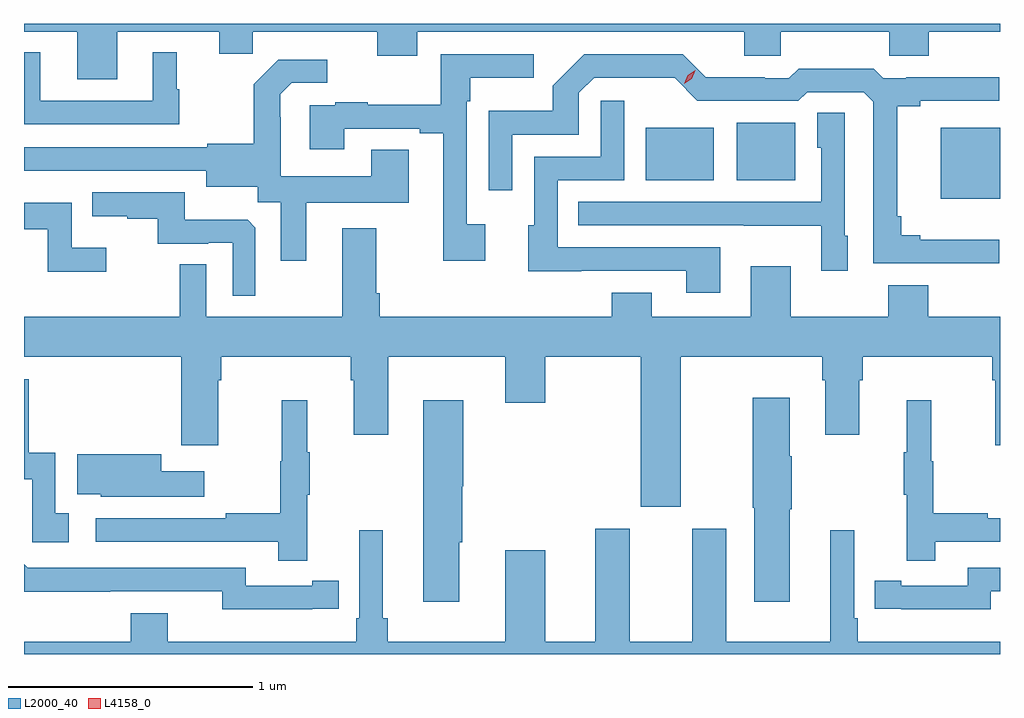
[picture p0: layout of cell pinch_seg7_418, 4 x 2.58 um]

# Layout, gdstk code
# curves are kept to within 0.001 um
import gdstk
lib = gdstk.Library(unit=1e-6, precision=1e-09)
def R(c, l, rs):  # rectangles x0, y0, x1, y1
    for r in rs: c.add(gdstk.rectangle(r[:2], r[2:], *l))
def P(c, l, *ps):  # polygons
    for p in ps: c.add(gdstk.Polygon(p, *l))
L2000_40 = (2000, 40)
L4158_0 = (4158, 0)

pinch_seg7_418 = lib.new_cell('pinch_seg7_418')
R(pinch_seg7_418, L2000_40, [(310.649,1081.184,310.891,1081.474), (309.44,1081.259,309.718,1081.474), (309.812,1081.259,310.051,1081.495)])
P(pinch_seg7_418, L2000_40, [(307.273,1081.868),(307.691,1081.868),(307.691,1081.778),(307.829,1081.778),(307.829,1081.868),(308.339,1081.868),(308.339,1081.769),(308.503,1081.769),(308.503,1081.868),(309.842,1081.868),(309.842,1081.77),(309.993,1081.77),(309.993,1081.868),(310.438,1081.868),(310.438,1081.77),(310.598,1081.77),(310.598,1081.868),(310.891,1081.868),(310.891,1081.9),(306.891,1081.9),(306.891,1081.868),(307.109,1081.868),(307.109,1081.674),(307.273,1081.674)],
  [(307.528,1081.632),(307.516,1081.632),(307.516,1081.783),(307.418,1081.783),(307.418,1081.584),(306.958,1081.584),(306.958,1081.783),(306.891,1081.783),(306.891,1081.488),(307.528,1081.488)],
  [(310.888,1081.015),(310.564,1081.015),(310.564,1081.034),(310.487,1081.034),(310.487,1081.111),(310.469,1081.111),(310.469,1081.562),(310.564,1081.562),(310.564,1081.584),(310.888,1081.584),(310.888,1081.682),(310.507,1081.682),(310.507,1081.677),(310.413,1081.677),(310.373,1081.717),(310.066,1081.717),(310.026,1081.677),(309.926,1081.677),(309.926,1081.682),(309.686,1081.682),(309.591,1081.776),(309.188,1081.776),(309.058,1081.646),(309.058,1081.543),(308.796,1081.543),(308.796,1081.218),(308.892,1081.218),(308.892,1081.446),(309.165,1081.446),(309.165,1081.617),(309.228,1081.68),(309.557,1081.679),(309.651,1081.584),(310.065,1081.584),(310.101,1081.62),(310.332,1081.62),(310.371,1081.581),(310.371,1080.918),(310.888,1080.918)],
  [(308.782,1081.078),(308.706,1081.078),(308.706,1081.583),(308.719,1081.583),(308.719,1081.679),(308.98,1081.679),(308.98,1081.776),(308.598,1081.776),(308.598,1081.568),(308.299,1081.568),(308.299,1081.579),(308.167,1081.579),(308.167,1081.566),(308.063,1081.566),(308.063,1081.386),(308.203,1081.386),(308.203,1081.47),(308.513,1081.47),(308.513,1081.452),(308.609,1081.452),(308.609,1080.93),(308.782,1080.93)],
  [(308.047,1081.166),(308.467,1081.166),(308.467,1081.385),(308.315,1081.385),(308.315,1081.276),(307.944,1081.276),(307.944,1081.517),(307.942,1081.517),(307.942,1081.612),(307.989,1081.659),(308.134,1081.659),(308.134,1081.753),(307.933,1081.753),(307.833,1081.653),(307.833,1081.408),(307.641,1081.408),(307.641,1081.395),(306.891,1081.395),(306.891,1081.298),(307.637,1081.299),(307.637,1081.232),(307.848,1081.232),(307.848,1081.168),(307.943,1081.168),(307.943,1080.93),(308.047,1080.93)],
  [(309.745,1080.984),(309.078,1080.984),(309.078,1081.26),(309.351,1081.26),(309.351,1081.585),(309.255,1081.585),(309.255,1081.356),(308.982,1081.356),(308.982,1081.074),(308.957,1081.074),(308.957,1080.887),(309.175,1080.887),(309.175,1080.888),(309.605,1080.888),(309.605,1080.798),(309.745,1080.798)],
  [(310.267,1081.032),(310.254,1081.032),(310.254,1081.535),(310.142,1081.535),(310.142,1081.392),(310.158,1081.392),(310.158,1081.17),(309.163,1081.17),(309.163,1081.074),(309.841,1081.074),(309.841,1081.073),(310.158,1081.073),(310.158,1080.888),(310.267,1080.888)],
  [(307.839,1081.065),(307.807,1081.097),(307.549,1081.097),(307.549,1081.209),(307.171,1081.209),(307.171,1081.112),(307.315,1081.112),(307.315,1081.101),(307.439,1081.101),(307.439,1080.999),(307.646,1080.999),(307.646,1081.002),(307.746,1081.002),(307.746,1080.785),(307.839,1080.785)],
  [(307.228,1080.982),(307.086,1080.982),(307.086,1081.167),(306.891,1081.167),(306.891,1081.071),(306.893,1081.071),(306.893,1081.059),(306.988,1081.059),(306.988,1080.884),(307.228,1080.884)],
  [(309.583,1080.536),(310.163,1080.536),(310.163,1080.44),(310.175,1080.44),(310.175,1080.216),(310.315,1080.216),(310.315,1080.44),(310.328,1080.44),(310.328,1080.536),(310.859,1080.536),(310.859,1080.44),(310.871,1080.44),(310.871,1080.174),(310.891,1080.174),(310.891,1080.7),(310.597,1080.7),(310.597,1080.829),(310.433,1080.829),(310.433,1080.7),(310.033,1080.7),(310.033,1080.907),(309.869,1080.907),(309.869,1080.7),(309.463,1080.7),(309.463,1080.799),(309.299,1080.799),(309.299,1080.7),(308.348,1080.7),(308.348,1080.796),(308.335,1080.796),(308.335,1081.063),(308.195,1081.063),(308.195,1080.7),(307.638,1080.7),(307.638,1080.914),(307.53,1080.914),(307.53,1080.7),(306.891,1080.7),(306.891,1080.536),(307.535,1080.536),(307.535,1080.174),(307.687,1080.174),(307.687,1080.44),(307.7,1080.44),(307.7,1080.536),(308.231,1080.536),(308.231,1080.44),(308.243,1080.44),(308.243,1080.216),(308.383,1080.216),(308.383,1080.536),(308.864,1080.536),(308.864,1080.348),(309.028,1080.348),(309.028,1080.536),(309.419,1080.536),(309.419,1079.922),(309.583,1079.922)],
  [(307.075,1079.895),(307.02,1079.895),(307.02,1080.142),(306.911,1080.142),(306.911,1080.444),(306.891,1080.444),(306.891,1080.033),(306.924,1080.033),(306.924,1079.775),(307.075,1079.775)],
  [(310.03,1079.911),(310.038,1079.911),(310.038,1080.128),(310.03,1080.128),(310.03,1080.367),(309.877,1080.367),(309.877,1079.917),(309.884,1079.917),(309.884,1079.532),(310.03,1079.532)],
  [(308.674,1079.775),(308.687,1079.775),(308.687,1080.006),(308.692,1080.006),(308.692,1080.358),(308.528,1080.358),(308.528,1079.532),(308.674,1079.532)],
  [(310.625,1079.778),(310.891,1079.778),(310.891,1079.874),(310.841,1079.874),(310.841,1079.894),(310.618,1079.894),(310.618,1080.108),(310.61,1080.108),(310.61,1080.358),(310.508,1080.358),(310.508,1080.145),(310.497,1080.145),(310.497,1079.971),(310.508,1079.971),(310.508,1079.7),(310.625,1079.7)],
  [(308.051,1079.971),(308.062,1079.971),(308.062,1080.145),(308.051,1080.145),(308.051,1080.358),(307.948,1080.358),(307.948,1080.108),(307.941,1080.108),(307.941,1079.894),(307.717,1079.894),(307.717,1079.874),(307.185,1079.874),(307.185,1079.778),(307.933,1079.778),(307.933,1079.7),(308.051,1079.7)],
  [(307.63,1080.067),(307.453,1080.067),(307.453,1080.136),(307.109,1080.136),(307.109,1079.972),(307.206,1079.972),(307.206,1079.963),(307.63,1079.963)],
  [(310.891,1079.368),(310.307,1079.368),(310.307,1079.464),(310.293,1079.464),(310.293,1079.824),(310.196,1079.824),(310.196,1079.368),(309.769,1079.368),(309.769,1079.83),(309.629,1079.83),(309.629,1079.368),(309.373,1079.368),(309.373,1079.83),(309.233,1079.83),(309.233,1079.368),(309.028,1079.368),(309.028,1079.743),(308.864,1079.743),(308.864,1079.368),(308.381,1079.368),(308.381,1079.464),(308.362,1079.464),(308.362,1079.824),(308.265,1079.824),(308.265,1079.464),(308.252,1079.464),(308.252,1079.368),(307.48,1079.368),(307.48,1079.485),(307.328,1079.485),(307.328,1079.368),(306.891,1079.368),(306.891,1079.317),(310.891,1079.317)],
  [(308.072,1079.502),(308.18,1079.502),(308.18,1079.618),(308.072,1079.618),(308.072,1079.598),(307.8,1079.598),(307.8,1079.67),(306.906,1079.67),(306.891,1079.685),(306.891,1079.573),(307.704,1079.574),(307.704,1079.501)],
  [(310.854,1079.574),(310.891,1079.574),(310.891,1079.67),(310.758,1079.67),(310.758,1079.598),(310.486,1079.598),(310.486,1079.618),(310.378,1079.618),(310.378,1079.502),(310.486,1079.502),(310.486,1079.501),(310.854,1079.501)])
P(pinch_seg7_418, L4158_0, [(309.596,1081.655),(309.596,1081.655),(309.612,1081.689),(309.642,1081.71),(309.643,1081.71),(309.643,1081.71),(309.627,1081.676),(309.597,1081.655)])

lib.write_gds('pinch_seg7_418.gds')
